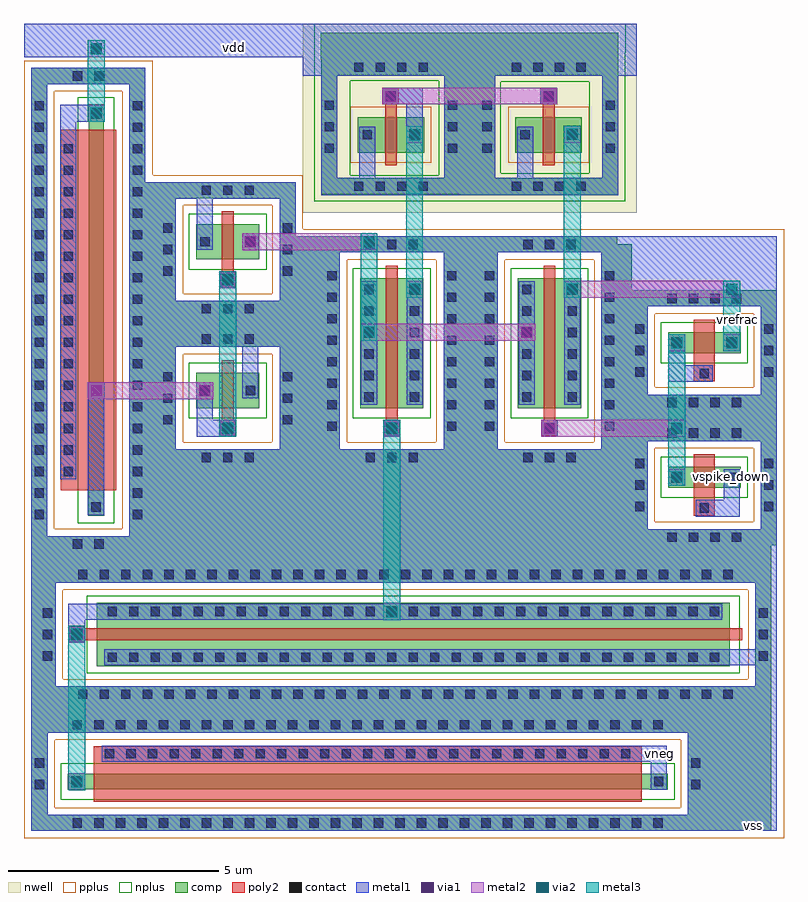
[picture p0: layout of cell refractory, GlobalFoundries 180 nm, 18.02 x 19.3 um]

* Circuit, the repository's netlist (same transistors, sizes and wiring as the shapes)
** sch_path: /foss/designs/pruebas/Mosbious_2025_Spikcore/designs/refractory.sch
.subckt refractory vspike_down vdd vss vrefrac vneg
*.PININFO vspike_down:I vdd:B vss:B vrefrac:O vneg:I
x22 vdd vrefrac net2 net1 vss ota_1stage
XM9 net1 net1 vrefrac vss nfet_03v3 L=0.5u W=0.5u nf=1 m=1
XM10 vspike_down vspike_down net1 vss nfet_03v3 L=0.5u W=0.5u nf=1 m=1
XM11 vneg vneg net2 vss nfet_03v3 L=13u W=0.36u nf=1 m=1
XM12 net2 net2 vss vss nfet_03v3 L=0.28u W=15u nf=1 m=1
.ends

* expanding   symbol:  designs/libs/core_LIF_comp/core_ota_1stage/ota_1stage.sym # of pins=5
** sym_path: /foss/designs/pruebas/Mosbious_2025_Spikcore/designs/libs/core_LIF_comp/core_ota_1stage/ota_1stage.sym
** sch_path: /foss/designs/pruebas/Mosbious_2025_Spikcore/designs/libs/core_LIF_comp/core_ota_1stage/ota_1stage.sch
.subckt ota_1stage vdd vout vp vn vss
*.PININFO vdd:B vss:B vp:B vn:B vout:B
XM1 net1 net1 vdd vdd pfet_03v3 L=0.28u W=0.84u nf=1 m=1
XM2 net1 vp net2 vss nfet_03v3 L=0.28u W=3.08u nf=1 m=1
XM4 vout net1 vdd vdd pfet_03v3 L=0.28u W=0.84u nf=1 m=1
XM3 vout vn net2 vss nfet_03v3 L=0.28u W=3.08u nf=1 m=1
XM5 net2 net3 vss vss nfet_03v3 L=0.28u W=0.84u nf=1 m=1
XM6 net3 net3 vss vss nfet_03v3 L=0.28u W=0.84u nf=1 m=1
XM7 vdd vdd net3 vss nfet_03v3 L=8.54u W=0.36u nf=1 m=1
.ends

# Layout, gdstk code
from math import pi, radians
import gdstk
lib = gdstk.Library(unit=1e-6, precision=5e-09)
def R(c, l, rs):  # rectangles x0, y0, x1, y1
    for r in rs: c.add(gdstk.rectangle(r[:2], r[2:], *l))
def A(c, l, x, y, w, h, nx, ny, dx, dy):  # array of equal rectangles
    R(c, l, [(x+i*dx, y+j*dy, x+i*dx+w, y+j*dy+h) for i in range(nx) for j in range(ny)])
def P(c, l, *ps):  # polygons
    for p in ps: c.add(gdstk.Polygon(p, *l))
nwell = (21, 0)
comp = (22, 0)
poly2 = (30, 0)
pplus = (31, 0)
nplus = (32, 0)
contact = (33, 0)
metal1 = (34, 0)
via1 = (35, 0)
metal2 = (36, 0)
via2 = (38, 0)
metal3 = (42, 0)

nfet_3 = lib.new_cell('nfet$3')
R(nfet_3, comp, [(-0.42,0,0,0.5), (0,0,0.88,0.5), (0.88,0,1.3,0.5)])
P(nfet_3, comp, [(-1.28,-1.36),(-1.28,1.11),(-0.9,1.11),(-0.9,-0.98),(1.78,-0.98),(1.78,1.11),(-1.28,1.11),(-1.28,1.49),(2.16,1.49),(2.16,-1.36)])
R(nfet_3, poly2, [(0.19,-0.66,0.69,-0.3), (0.19,-0.3,0.69,0.8)])
P(nfet_3, pplus, [(-1.45,-1.53),(-1.45,0.94),(-0.73,0.94),(-0.73,-0.81),(1.61,-0.81),(1.61,0.94),(-1.45,0.94),(-1.45,1.66),(2.33,1.66),(2.33,-1.53)])
R(nfet_3, nplus, [(-0.59,-0.24,1.47,0.74)])
A(nfet_3, contact, -0.435, -1.28, 0.22, 0.22, 4, 2, 0.51, 2.47)
A(nfet_3, contact, -1.2, -0.555, 0.22, 0.22, 1, 3, 0, 0.51)
A(nfet_3, contact, 1.86, -0.555, 0.22, 0.22, 1, 3, 0, 0.51)
R(nfet_3, contact, [(0.33,-0.59,0.55,-0.37), (-0.32,0.14,-0.1,0.36), (0.98,0.14,1.2,0.36)])
R(nfet_3, metal1, [(0.25,-0.67,0.63,-0.29), (-0.4,0.06,-0.02,0.44), (0.9,0.06,1.28,0.44)])

via_dev_5 = lib.new_cell('via_dev$5')
R(via_dev_5, metal1, [(0,0,0.4,0.4)])
R(via_dev_5, via1, [(0.07,0.07,0.33,0.33)])
R(via_dev_5, metal2, [(0,0,0.4,0.4)])

via_dev_7 = lib.new_cell('via_dev$7')
R(via_dev_7, metal1, [(0,0,0.4,0.4)])
R(via_dev_7, via1, [(0.07,0.07,0.33,0.33)])
R(via_dev_7, metal2, [(0,0,0.4,0.4)])
R(via_dev_7, via2, [(0.07,0.07,0.33,0.33)])
R(via_dev_7, metal3, [(0,0,0.4,0.4)])

nfet_7 = lib.new_cell('nfet$7')
R(nfet_7, comp, [(-0.42,0,0,15), (0,0,0.66,15), (0.66,0,1.08,15)])
P(nfet_7, comp, [(-1.28,-0.99),(-1.28,15.98),(-0.9,15.98),(-0.9,-0.61),(1.56,-0.61),(1.56,15.98),(-1.28,15.98),(-1.28,16.36),(1.94,16.36),(1.94,-0.99)])
R(nfet_7, poly2, [(0.19,-0.3,0.47,15.3), (0.15,15.3,0.51,15.66)])
P(nfet_7, pplus, [(-1.45,-1.16),(-1.45,15.81),(-0.73,15.81),(-0.73,-0.44),(1.39,-0.44),(1.39,15.81),(-1.45,15.81),(-1.45,16.53),(2.11,16.53),(2.11,-1.16)])
R(nfet_7, nplus, [(-0.59,-0.24,1.25,15.24)])
A(nfet_7, contact, -0.29, -0.91, 0.22, 0.22, 3, 2, 0.51, 16.97)
A(nfet_7, contact, -1.2, -0.075, 0.22, 0.22, 1, 31, 0, 0.51)
A(nfet_7, contact, 1.64, -0.075, 0.22, 0.22, 1, 31, 0, 0.51)
A(nfet_7, contact, -0.32, 0.25, 0.22, 0.22, 1, 29, 0, 0.51)
A(nfet_7, contact, 0.76, 0.25, 0.22, 0.22, 1, 29, 0, 0.51)
R(nfet_7, contact, [(0.22,15.37,0.44,15.59)])
R(nfet_7, metal1, [(-0.4,0.17,-0.02,14.83), (0.68,0.17,1.06,14.83), (0.14,15.29,0.52,15.67)])

via_dev_11 = lib.new_cell('via_dev$11')
R(via_dev_11, metal2, [(0,0,0.4,0.4)])
R(via_dev_11, via2, [(0.07,0.07,0.33,0.33)])
R(via_dev_11, metal3, [(0,0,0.4,0.4)])

via_dev_3 = lib.new_cell('via_dev$3')
R(via_dev_3, metal1, [(0,0,0.4,0.4)])
R(via_dev_3, via1, [(0.07,0.07,0.33,0.33)])
R(via_dev_3, metal2, [(0,0,0.4,0.4)])
R(via_dev_3, via2, [(0.07,0.07,0.33,0.33)])
R(via_dev_3, metal3, [(0,0,0.4,0.4)])

nfet = lib.new_cell('nfet')
R(nfet, comp, [(-0.42,-0.01,0,0.37), (8.92,-0.01,9.34,0.37), (0,0,8.92,0.36)])
P(nfet, comp, [(-1.28,-0.99),(-1.28,1.34),(-0.9,1.34),(-0.9,-0.61),(9.82,-0.61),(9.82,1.34),(-1.28,1.34),(-1.28,1.72),(10.2,1.72),(10.2,-0.99)])
R(nfet, poly2, [(0.19,-0.3,8.73,0.66), (0.19,0.66,8.73,1.02)])
P(nfet, pplus, [(-1.45,-1.16),(-1.45,1.17),(-0.73,1.17),(-0.73,-0.44),(9.65,-0.44),(9.65,1.17),(-1.45,1.17),(-1.45,1.89),(10.37,1.89),(10.37,-1.16)])
R(nfet, nplus, [(-0.59,-0.25,9.51,0.61)])
A(nfet, contact, -0.495, -0.91, 0.22, 0.22, 20, 2, 0.51, 2.33)
A(nfet, contact, 0.525, 0.73, 0.22, 0.22, 16, 1, 0.51, 0)
R(nfet, contact, [(-1.2,0,-0.98,0.22), (9.9,0,10.12,0.22), (-0.32,0.07,-0.1,0.29), (9.02,0.07,9.24,0.29), (-1.2,0.51,-0.98,0.73), (9.9,0.51,10.12,0.73)])
R(nfet, metal1, [(-0.4,-0.01,-0.02,0.37), (8.94,-0.01,9.32,0.37), (0.445,0.65,8.475,1.03)])

via_dev = lib.new_cell('via_dev')
R(via_dev, metal1, [(0,0,0.4,0.4)])
R(via_dev, via1, [(0.07,0.07,0.33,0.33)])
R(via_dev, metal2, [(0,0,0.4,0.4)])
R(via_dev, via2, [(0.07,0.07,0.33,0.33)])
R(via_dev, metal3, [(0,0,0.4,0.4)])

via_dev_1 = lib.new_cell('via_dev$1')
R(via_dev_1, metal1, [(0,0,0.4,0.4)])
R(via_dev_1, via1, [(0.07,0.07,0.33,0.33)])
R(via_dev_1, metal2, [(0,0,0.4,0.4)])

nfet_1 = lib.new_cell('nfet$1')
R(nfet_1, comp, [(-0.42,0,0,3.08), (0,0,0.66,3.08), (0.66,0,1.08,3.08)])
P(nfet_1, comp, [(-1.28,-1.36),(-1.28,3.69),(-0.9,3.69),(-0.9,-0.98),(1.56,-0.98),(1.56,3.69),(-1.28,3.69),(-1.28,4.07),(1.94,4.07),(1.94,-1.36)])
R(nfet_1, poly2, [(0.15,-0.66,0.51,-0.3), (0.19,-0.3,0.47,3.38)])
P(nfet_1, pplus, [(-1.45,-1.53),(-1.45,3.52),(-0.73,3.52),(-0.73,-0.81),(1.39,-0.81),(1.39,3.52),(-1.45,3.52),(-1.45,4.24),(2.11,4.24),(2.11,-1.53)])
R(nfet_1, nplus, [(-0.59,-0.24,1.25,3.32)])
A(nfet_1, contact, -0.29, -1.28, 0.22, 0.22, 3, 2, 0.51, 5.05)
A(nfet_1, contact, -1.2, -0.54, 0.22, 0.22, 1, 8, 0, 0.51)
A(nfet_1, contact, 1.64, -0.54, 0.22, 0.22, 1, 8, 0, 0.51)
A(nfet_1, contact, -0.32, 0.155, 0.22, 0.22, 1, 6, 0, 0.51)
A(nfet_1, contact, 0.76, 0.155, 0.22, 0.22, 1, 6, 0, 0.51)
R(nfet_1, contact, [(0.22,-0.59,0.44,-0.37)])
R(nfet_1, metal1, [(0.14,-0.67,0.52,-0.29), (-0.4,0.075,-0.02,3.005), (0.68,0.075,1.06,3.005)])

nfet_2 = lib.new_cell('nfet$2')
R(nfet_2, comp, [(-0.42,0,0,0.84), (0,0,0.66,0.84), (0.66,0,1.08,0.84)])
P(nfet_2, comp, [(-1.28,-1.36),(-1.28,1.45),(-0.9,1.45),(-0.9,-0.98),(1.56,-0.98),(1.56,1.45),(-1.28,1.45),(-1.28,1.83),(1.94,1.83),(1.94,-1.36)])
R(nfet_2, poly2, [(0.15,-0.66,0.51,-0.3), (0.19,-0.3,0.47,1.14)])
P(nfet_2, pplus, [(-1.45,-1.53),(-1.45,1.28),(-0.73,1.28),(-0.73,-0.81),(1.39,-0.81),(1.39,1.28),(-1.45,1.28),(-1.45,2),(2.11,2),(2.11,-1.53)])
R(nfet_2, nplus, [(-0.59,-0.24,1.25,1.08)])
A(nfet_2, contact, -0.29, -1.28, 0.22, 0.22, 3, 2, 0.51, 2.81)
A(nfet_2, contact, -1.2, -0.385, 0.22, 0.22, 1, 3, 0, 0.51)
A(nfet_2, contact, 1.64, -0.385, 0.22, 0.22, 1, 3, 0, 0.51)
R(nfet_2, contact, [(0.22,-0.59,0.44,-0.37), (-0.32,0.31,-0.1,0.53), (0.76,0.31,0.98,0.53)])
R(nfet_2, metal1, [(0.14,-0.67,0.52,-0.29), (-0.4,0.23,-0.02,0.61), (0.68,0.23,1.06,0.61)])

via_dev_2 = lib.new_cell('via_dev$2')
R(via_dev_2, metal2, [(0,0,0.4,0.4)])
R(via_dev_2, via2, [(0.07,0.07,0.33,0.33)])
R(via_dev_2, metal3, [(0,0,0.4,0.4)])

pfet = lib.new_cell('pfet')
R(pfet, nwell, [(-1.76,-1.43,2.42,2.65)])
R(pfet, comp, [(-0.46,0,0,0.84), (0,0,0.66,0.84), (0.66,0,1.12,0.84)])
P(pfet, comp, [(-1.32,-0.99),(-1.32,1.83),(-0.94,1.83),(-0.94,-0.61),(1.6,-0.61),(1.6,1.83),(-1.32,1.83),(-1.32,2.21),(1.98,2.21),(1.98,-0.99)])
R(pfet, poly2, [(0.19,-0.3,0.47,1.14), (0.14,1.14,0.52,1.52)])
R(pfet, pplus, [(-0.63,-0.24,1.29,1.08)])
A(pfet, contact, -0.545, -0.91, 0.22, 0.22, 4, 2, 0.51, 2.82)
A(pfet, contact, -1.24, -0.01, 0.22, 0.22, 1, 3, 0, 0.51)
A(pfet, contact, 1.68, -0.01, 0.22, 0.22, 1, 3, 0, 0.51)
R(pfet, contact, [(-0.34,0.31,-0.12,0.53), (0.78,0.31,1,0.53), (0.22,1.22,0.44,1.44)])
R(pfet, metal1, [(-0.42,0.23,-0.04,0.61), (0.7,0.23,1.08,0.61), (0.14,1.14,0.52,1.52)])

ota_1stage = lib.new_cell('ota_1stage')
P(ota_1stage, nwell, [(3.58,2.745),(3.58,6.825),(-4.02,6.825),(-4.02,7.225),(3.9,7.225),(3.9,6.825),(3.7,6.825),(3.7,2.745)])
R(ota_1stage, comp, [(-7.75,-3.245,-7.41,3.47), (-4.19,-3.245,-3.52,2.185), (-0.3,-3.245,0.22,2.185), (-7.41,-0.055,-4.19,0.28), (-0.28,3.195,0.16,6.395), (-3.58,6.3,3.46,6.715)])
P(ota_1stage, comp, [(-0.28,3.18),(-0.28,6.385),(-3.59,6.385),(-3.59,7.015),(3.46,7.015),(3.46,6.385),(0.4,6.385),(0.4,3.635),(0.44,3.635),(0.44,3.325),(3.46,3.325),(3.46,3.18)])
R(ota_1stage, pplus, [(-4.02,-3.415,-3.69,2.355), (-0.13,-3.415,0.05,2.355)])
P(ota_1stage, nplus, [(-3.75,3.015),(-3.75,5.875),(-2.89,5.875),(-2.89,3.635),(-0.795,3.635),(-0.795,5.855),(0.675,5.855),(0.675,3.68),(2.77,3.68),(2.77,5.855),(-0.795,5.855),(-0.795,5.875),(-3.75,5.875),(-3.75,7.225),(3.635,7.225),(3.635,6.555),(3.63,6.555),(3.63,3.015)])
R(ota_1stage, metal1, [(-7.75,-5.3,-7.41,3.47), (-7.41,-5.3,3.44,-3.23), (-9.12,-4.42,-8.73,-1.34), (-4.19,-3.23,-3.52,2.185), (-5.45,-1.47,-5.07,-0.435), (-6.53,2.035,-6.15,3.085), (-2.68,3.575,-2.3,4.52), (1.06,3.575,1.44,4.535), (-1.57,4.65,-1.17,5.715), (-1.815,5.315,-1.24,5.715), (-4.02,5.99,3.9,6.64), (-10.63,6.435,3.9,7.225)])
P(ota_1stage, metal1, [(-3.52,-3.245),(-3.52,1.805),(-3.14,1.805),(-3.14,-2.865),(-0.68,-2.865),(-0.68,1.805),(0.6,1.805),(0.6,-2.865),(3.06,-2.865),(3.06,1.805),(-3.52,1.805),(-3.52,2.185),(3.44,2.185),(3.44,-3.245)],
  [(-7.41,-3.24),(-7.41,-0.43),(-7.03,-0.43),(-7.03,-2.865),(-4.57,-2.865),(-4.57,-0.435),(-7.41,-0.435),(-7.41,3.085),(-7.03,3.085),(-7.03,0.66),(-4.57,0.66),(-4.57,3.085),(-7.41,3.085),(-7.41,3.47),(-4.19,3.47),(-4.19,-3.24)],
  [(-6.53,-2.565),(-6.53,-1.655),(-6.15,-1.655),(-6.15,-2.165),(-5.99,-2.165),(-5.99,-2.565)],
  [(-3.58,3.165),(-3.58,6.015),(-3.2,6.015),(-3.2,3.575),(-0.66,3.575),(-0.66,6.015),(0.54,6.015),(0.54,3.575),(3.08,3.575),(3.08,6.015),(-3.58,6.015),(-3.58,6.395),(3.46,6.395),(3.46,3.165)],
  [(-9.77,4.455),(-9.77,5.31),(-9.12,5.31),(-9.12,4.91),(-9.39,4.91),(-9.39,4.455)],
  [(-10.46,-5.3),(-10.46,6.18),(-7.75,6.18),(-7.75,-5.3),(-10.08,-5.3),(-10.08,-4.92),(-8.13,-4.92),(-8.13,5.8),(-10.08,5.8),(-10.08,-5.3)])
R(ota_1stage, metal2, [(-9.1,-1.67,-6.415,-1.27), (-2.415,-0.29,1.285,0.11), (-5.46,1.86,-2.58,2.26), (-1.73,5.315,1.61,5.715)])
R(ota_1stage, metal3, [(-6,-2.38,-5.6,1.165), (-2.65,-0.07,-2.25,2.105), (-1.57,0.89,-1.17,4.605), (2.17,0.89,2.57,4.58), (-9.12,5.08,-8.72,6.66)])
ota_1stage.add(gdstk.Reference(nfet, (-8.74,-4.02), rotation=pi/2))
ota_1stage.add(gdstk.Reference(via_dev, (2.17,4.405)))
ota_1stage.add(gdstk.Reference(via_dev, (-1.57,4.4)))
ota_1stage.add(gdstk.Reference(via_dev_1, (-2.13,5.315)))
ota_1stage.add(gdstk.Reference(via_dev_1, (1.61,5.315)))
ota_1stage.add(gdstk.Reference(via_dev, (2.17,0.73)))
ota_1stage.add(gdstk.Reference(via_dev, (-1.57,0.73)))
ota_1stage.add(gdstk.Reference(nfet_1, (-2.24,-1.885)))
ota_1stage.add(gdstk.Reference(nfet_1, (1.5,-1.885)))
ota_1stage.add(gdstk.Reference(via_dev_1, (1.09,-0.29)))
ota_1stage.add(gdstk.Reference(nfet_2, (-6.13,1.64)))
ota_1stage.add(gdstk.Reference(via_dev, (-2.65,-0.29)))
ota_1stage.add(gdstk.Reference(via_dev_1, (-5.46,1.86)))
ota_1stage.add(gdstk.Reference(via_dev, (-6,0.96)))
ota_1stage.add(gdstk.Reference(nfet_2, (-6.13,-1.885)))
ota_1stage.add(gdstk.Reference(via_dev, (-8.72,4.91), rotation=pi/2))
ota_1stage.add(gdstk.Reference(via_dev, (-9.12,6.435)))
ota_1stage.add(gdstk.Reference(via_dev_1, (-6.54,-1.67)))
ota_1stage.add(gdstk.Reference(via_dev_2, (-2.65,1.86)))
ota_1stage.add(gdstk.Reference(via_dev, (-6,-2.565)))
ota_1stage.add(gdstk.Reference(via_dev_1, (-8.72,-1.67), rotation=pi/2))
ota_1stage.add(gdstk.Reference(pfet, (1.48,4.175)))
ota_1stage.add(gdstk.Reference(pfet, (-2.26,4.175)))
ota_1stage.add(gdstk.Label('vdd', (-4.545,6.695), layer=34, texttype=10))
ota_1stage.add(gdstk.Label('vp', (-1.92,-2.4), layer=34, texttype=10))
ota_1stage.add(gdstk.Label('vn', (1.765,-2.385), layer=34, texttype=10))
ota_1stage.add(gdstk.Label('vss', (-2.815,-4.215), layer=34, texttype=10))
ota_1stage.add(gdstk.Label('vout', (2.4,2.57), layer=42, texttype=10))

via_dev_10 = lib.new_cell('via_dev$10')
R(via_dev_10, metal1, [(0,0,0.4,0.4)])
R(via_dev_10, via1, [(0.07,0.07,0.33,0.33)])
R(via_dev_10, metal2, [(0,0,0.4,0.4)])
R(via_dev_10, via2, [(0.07,0.07,0.33,0.33)])
R(via_dev_10, metal3, [(0,0,0.4,0.4)])

nfet_4 = lib.new_cell('nfet$4')
R(nfet_4, comp, [(-0.42,-0.01,0,0.37), (13.38,-0.01,13.8,0.37), (0,0,13.38,0.36)])
P(nfet_4, comp, [(-1.28,-0.99),(-1.28,1.34),(-0.9,1.34),(-0.9,-0.61),(14.28,-0.61),(14.28,1.34),(-1.28,1.34),(-1.28,1.72),(14.66,1.72),(14.66,-0.99)])
R(nfet_4, poly2, [(0.19,-0.3,13.19,0.66), (0.19,0.66,13.19,1.02)])
P(nfet_4, pplus, [(-1.45,-1.16),(-1.45,1.17),(-0.73,1.17),(-0.73,-0.44),(14.11,-0.44),(14.11,1.17),(-1.45,1.17),(-1.45,1.89),(14.83,1.89),(14.83,-1.16)])
R(nfet_4, nplus, [(-0.59,-0.25,13.97,0.61)])
A(nfet_4, contact, -0.305, -0.91, 0.22, 0.22, 28, 2, 0.51, 2.33)
A(nfet_4, contact, 0.46, 0.73, 0.22, 0.22, 25, 1, 0.51, 0)
R(nfet_4, contact, [(-1.2,0,-0.98,0.22), (14.36,0,14.58,0.22), (-0.32,0.07,-0.1,0.29), (13.48,0.07,13.7,0.29), (-1.2,0.51,-0.98,0.73), (14.36,0.51,14.58,0.73)])
R(nfet_4, metal1, [(-0.4,-0.01,-0.02,0.37), (13.4,-0.01,13.78,0.37), (0.38,0.65,13,1.03)])

refractory = lib.new_cell('refractory')
R(refractory, comp, [(-10.81,-11.425,-10.605,-5.155), (5.14,-11.425,6.74,-8.715), (-10.605,-8.715,6.74,-8.375), (-10.81,-5.155,-8.1,-4.815), (-8.1,-5.155,3.43,-2.76), (3.43,-5.155,6.74,-4.65), (3.09,-2.76,3.43,2.49), (3.09,-2.76,3.43,2.49), (3.43,-1.8,6.87,-1.46)])
R(refractory, pplus, [(-10.98,-11.595,-10.78,-4.985), (5.31,-11.595,6.91,-8.545), (6.91,-11.595,7.04,-4.985), (-7.93,-4.985,3.26,-2.93), (3.26,-4.985,7.04,-4.82), (3.26,1.56,7.04,2.84)])
R(refractory, metal1, [(5.58,-7.495,6.36,-7.115), (3.09,-4.815,3.81,1.01), (3.81,-4.815,6.87,-4.27), (6.49,-4.27,6.87,1.01), (4.95,-3.97,5.955,-3.57), (5.61,-3.97,5.99,-3.065), (3.81,-2.18,6.49,-1.08), (4.3,-0.78,4.7,0.125), (4.345,-0.78,5.35,-0.38), (3.09,1.01,6.87,2.67)])
P(refractory, metal1, [(-10.81,-11.425),(-10.81,-9.095),(-10.42,-9.095),(-10.42,-11.045),(4.76,-11.045),(4.76,-9.095),(-10.81,-9.095),(-10.81,-5.535),(-10.23,-5.535),(-10.23,-7.995),(6.36,-7.995),(6.36,-5.535),(-10.81,-5.535),(-10.81,-4.815),(6.87,-4.815),(6.87,-11.425)],
  [(-9.93,-6.96),(-9.93,-6.035),(-9.08,-6.035),(-9.08,-6.415),(-9.53,-6.415),(-9.53,-6.96)],
  [(3.88,-10.065),(3.88,-9.785),(3.42,-9.785),(3.42,-9.405),(4.26,-9.405),(4.26,-10.065)])
R(refractory, metal2, [(1.57,-2.08,4.51,-1.68), (1.925,1.215,5.91,1.615)])
R(refractory, metal3, [(-9.93,-10.105,-9.53,-6.755), (-2.46,-6.265,-2.06,-1.92), (4.3,-2.975,4.7,0.16), (5.6,0.165,6,1.485)])
refractory.add(gdstk.Reference(nfet_3, (4.71,-0.1)))
refractory.add(gdstk.Reference(via_dev_5, (1.28,-2.08)))
refractory.add(gdstk.Reference(via_dev_7, (4.3,-3.24)))
refractory.add(gdstk.Reference(nfet_7, (5.75,-7.095), rotation=pi/2))
refractory.add(gdstk.Reference(via_dev_11, (5.6,1.215)))
refractory.add(gdstk.Reference(via_dev_3, (-2.46,-2.08)))
refractory.add(gdstk.Reference(via_dev_7, (5.6,-0.05)))
refractory.add(gdstk.Reference(ota_1stage, (-0.35,0.485)))
refractory.add(gdstk.Reference(via_dev_10, (-2.46,-6.425)))
refractory.add(gdstk.Reference(via_dev_7, (4.3,-0.05)))
refractory.add(gdstk.Reference(via_dev_10, (-9.93,-6.96)))
refractory.add(gdstk.Reference(nfet_4, (-9.52,-10.435)))
refractory.add(gdstk.Reference(via_dev_10, (-9.93,-10.455)))
refractory.add(gdstk.Reference(nfet_3, (4.71,-3.29)))
refractory.add(gdstk.Reference(via_dev_11, (4.3,-2.08)))
refractory.add(gdstk.Label('vneg', (4.09,-9.58), layer=34, texttype=10))
refractory.add(gdstk.Label('vss', (6.305,-11.285), layer=34, texttype=10))
refractory.add(gdstk.Label('vspike_down', (5.795,-3.01), layer=34, texttype=10))
refractory.add(gdstk.Label('vdd', (-6,7.145), layer=34, texttype=10))
refractory.add(gdstk.Label('vrefrac', (5.94,0.7), layer=42, texttype=10))

lib.write_gds('refractory.gds')
